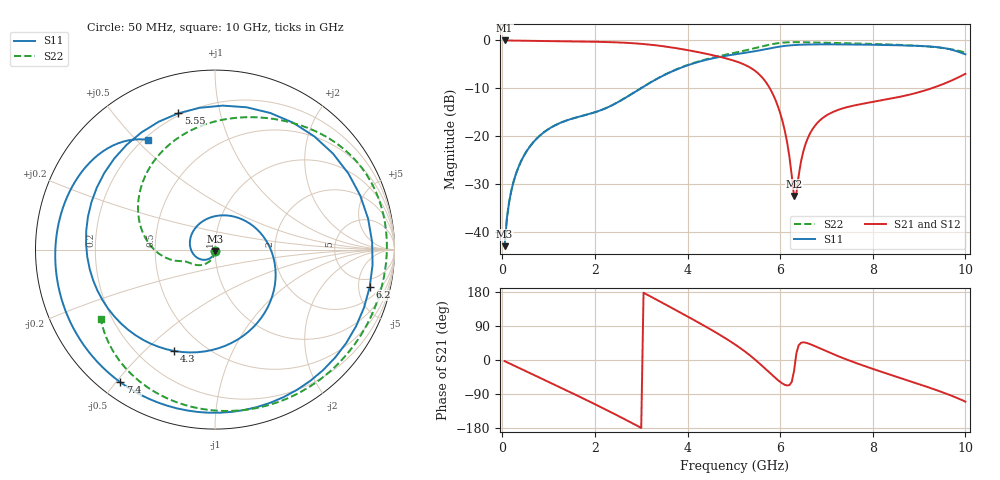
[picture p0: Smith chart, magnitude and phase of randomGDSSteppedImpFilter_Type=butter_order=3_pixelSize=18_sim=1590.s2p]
! freq	dB(S11)	phase(S11)	dB(S12)	phase(S12)
!  dB(S21)	phase(S21)	dB(S22)	phase(S22)
!S-par simulation data
#  GHz  S  DB  R 50
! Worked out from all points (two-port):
!   200 points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, 50 MHz to 10 GHz, reference 50 ohm
!   highest |S21| = -0.01 dB at 50 MHz (marker M1); lowest = -32.5 dB at 6.3 GHz (marker M2)
!   |S21| within 3 dB of the highest: start of sweep to 4.509 GHz
!   lowest |S11| = -43.0 dB at 50 MHz (marker M3), VSWR 1.01, Z = 50 - j0.709 ohm
!   |S11| at or under -10 dB: start of sweep to 2.99 GHz
!   |S22| runs from -43.0 to -0.4 dB; largest |S21 - S12| = 0
!   S11 on the Smith chart (normalised r, x): 50 MHz: 1.00, -0.01; 4.3 GHz: 0.35, -0.62; 5.55 GHz: 0.19, +0.75; 6.2 GHz: 3.41, -6.66; 7.4 GHz: 0.06, -0.51; 10 GHz: 0.22, +0.54
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0.05  -42.97 -92.0  -0.01 -3.0  -0.01 -3.0  -42.97 -91.0
0.2  -31.17 -103.9  -0.02 -11.7  -0.02 -11.7  -31.15 -98.7
0.5  -23.55 -126.2  -0.06 -29.0  -0.06 -29.0  -23.51 -112.8
1.15  -17.68 -176.2  -0.15 -66.5  -0.15 -66.5  -17.67 -138.6
1.75  -15.69 129.2  -0.24 -101.6  -0.24 -101.6  -15.70 -154.4
2.65  -12.03 31.5  -0.48 -156.8  -0.48 -156.8  -12.02 -166.9
3.4  -7.72 -39.2  -1.12 154.7  -1.12 154.7  -7.69 166.9
4.3  -4.31 -111.8  -2.58 94.5  -2.58 94.5  -4.20 119.8
4.7  -3.44 -146.3  -3.43 66.2  -3.43 66.2  -3.23 97.8
5.05  -2.87 177.6  -4.38 39.0  -4.38 39.0  -2.51 79.2
5.3  -2.50 145.2  -5.39 16.8  -5.39 16.8  -1.97 66.1
5.55  -2.09 105.1  -7.11 -8.7  -7.11 -8.7  -1.39 52.7
5.8  -1.62 58.3  -10.40 -36.8  -10.40 -36.8  -0.83 38.4
6  -1.28 20.4  -15.16 -57.8  -15.16 -57.8  -0.52 26.4
6.2  -1.04 -13.6  -24.28 -66.2  -24.28 -66.2  -0.38 14.5
6.3  -0.97 -28.5  -32.50 -29.1  -32.50 -29.1  -0.36 8.8
6.5  -0.88 -54.1  -23.18 46.6  -23.18 46.6  -0.38 -1.8
6.7  -0.84 -75.0  -18.52 39.2  -18.52 39.2  -0.43 -11.8
7.4  -0.84 -125.5  -14.05 3.0  -14.05 3.0  -0.58 -42.7
8.35  -0.97 -170.9  -12.24 -37.8  -12.24 -37.8  -0.84 -79.7
9.25  -1.28 151.9  -10.06 -74.1  -10.06 -74.1  -1.32 -113.8
10  -2.90 121.4  -6.98 -109.9  -6.98 -109.9  -2.56 -148.6
